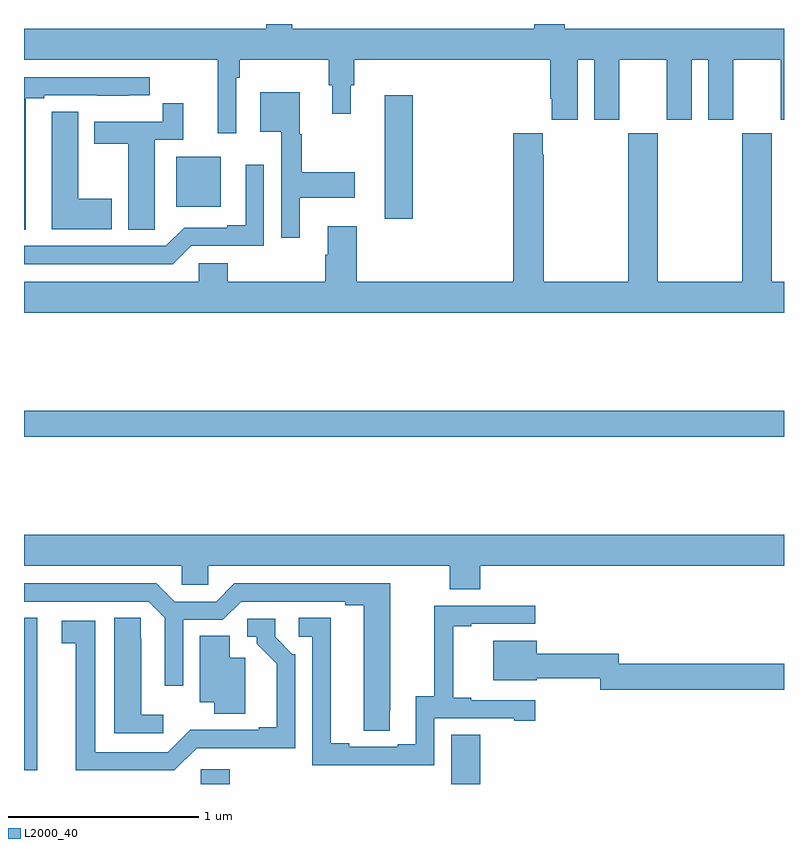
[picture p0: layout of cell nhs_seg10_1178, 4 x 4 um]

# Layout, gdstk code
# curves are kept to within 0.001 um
import gdstk
lib = gdstk.Library(unit=1e-6, precision=1e-09)
def R(c, l, rs):  # rectangles x0, y0, x1, y1
    for r in rs: c.add(gdstk.rectangle(r[:2], r[2:], *l))
def P(c, l, *ps):  # polygons
    for p in ps: c.add(gdstk.Polygon(p, *l))
L2000_40 = (2000, 40)

nhs_seg10_1178 = lib.new_cell('nhs_seg10_1178')
R(nhs_seg10_1178, L2000_40, [(171.93,1300.5,172.082,1300.578), (173.249,1300.5,173.402,1300.76), (171,1300.572,171.07,1301.374), (171,1302.328,175,1302.464), (172.898,1303.476,173.045,1304.125), (171.8,1303.538,172.036,1303.801)])
P(nhs_seg10_1178, L2000_40, [(172.116,1304.216),(172.136,1304.216),(172.136,1304.312),(172.603,1304.312),(172.603,1304.178),(172.622,1304.178),(172.622,1304.028),(172.72,1304.028),(172.72,1304.178),(172.739,1304.178),(172.739,1304.312),(173.771,1304.312),(173.771,1304.107),(173.777,1304.107),(173.777,1303.995),(173.914,1303.995),(173.914,1304.312),(174.002,1304.312),(174.002,1303.995),(174.133,1303.995),(174.133,1304.312),(174.383,1304.312),(174.383,1303.995),(174.514,1303.995),(174.514,1304.312),(174.602,1304.312),(174.602,1303.995),(174.733,1303.995),(174.733,1304.312),(174.983,1304.312),(174.983,1303.995),(175,1303.995),(175,1304.476),(173.846,1304.476),(173.846,1304.5),(173.686,1304.5),(173.686,1304.476),(172.413,1304.476),(172.413,1304.5),(172.275,1304.5),(172.275,1304.476),(171,1304.476),(171,1304.312),(172.019,1304.312),(172.019,1303.926),(172.116,1303.926)],
  [(171.01,1304.109),(171.106,1304.109),(171.106,1304.124),(171.382,1304.124),(171.382,1304.123),(171.548,1304.123),(171.548,1304.124),(171.661,1304.124),(171.661,1304.22),(171,1304.22),(171,1303.417),(171.01,1303.417)],
  [(172.45,1303.586),(172.741,1303.586),(172.741,1303.721),(172.462,1303.721),(172.462,1303.92),(172.45,1303.92),(172.45,1304.14),(172.244,1304.14),(172.244,1303.934),(172.353,1303.934),(172.353,1303.374),(172.45,1303.374)],
  [(171.687,1303.528),(171.688,1303.528),(171.688,1303.89),(171.839,1303.89),(171.839,1304.083),(171.73,1304.083),(171.73,1303.986),(171.371,1303.986),(171.371,1303.87),(171.548,1303.87),(171.548,1303.417),(171.687,1303.417)],
  [(171.463,1303.581),(171.286,1303.581),(171.286,1304.039),(171.147,1304.039),(171.147,1303.931),(171.146,1303.931),(171.146,1303.421),(171.463,1303.421)],
  [(175,1303.144),(174.936,1303.144),(174.936,1303.924),(174.781,1303.924),(174.781,1303.144),(174.336,1303.144),(174.336,1303.924),(174.181,1303.924),(174.181,1303.144),(173.736,1303.144),(173.736,1303.811),(173.731,1303.811),(173.731,1303.924),(173.576,1303.924),(173.576,1303.144),(172.751,1303.144),(172.751,1303.435),(172.598,1303.435),(172.598,1303.286),(172.586,1303.286),(172.586,1303.144),(172.073,1303.144),(172.073,1303.242),(171.921,1303.242),(171.921,1303.144),(171,1303.144),(171,1302.98),(175,1302.98)],
  [(171.879,1303.332),(172.263,1303.332),(172.263,1303.759),(172.166,1303.759),(172.166,1303.441),(172.07,1303.441),(172.07,1303.428),(171.843,1303.428),(171.747,1303.332),(171,1303.332),(171,1303.236),(171.783,1303.236)],
  [(173.402,1301.648),(175,1301.648),(175,1301.812),(171,1301.812),(171,1301.648),(171.831,1301.648),(171.831,1301.55),(171.969,1301.55),(171.969,1301.648),(173.242,1301.648),(173.242,1301.524),(173.402,1301.524)],
  [(172.926,1300.888),(172.927,1301.556),(172.107,1301.556),(172.011,1301.46),(171.793,1301.46),(171.697,1301.556),(171,1301.556),(171,1301.46),(171.657,1301.46),(171.741,1301.376),(171.741,1301.016),(171.837,1301.016),(171.837,1301.364),(172.047,1301.364),(172.143,1301.46),(172.691,1301.46),(172.691,1301.44),(172.787,1301.44),(172.787,1300.78),(172.926,1300.78)],
  [(173.16,1300.845),(173.579,1300.845),(173.579,1300.833),(173.692,1300.833),(173.692,1300.941),(173.353,1300.941),(173.353,1300.954),(173.258,1300.954),(173.258,1301.331),(173.353,1301.331),(173.353,1301.343),(173.692,1301.343),(173.692,1301.439),(173.158,1301.439),(173.158,1300.961),(173.063,1300.961),(173.063,1300.71),(172.967,1300.71),(172.967,1300.695),(172.711,1300.695),(172.711,1300.715),(172.615,1300.715),(172.615,1301.375),(172.446,1301.375),(172.446,1301.274),(172.518,1301.274),(172.518,1300.599),(173.16,1300.599)],
  [(171.733,1300.864),(171.616,1300.864),(171.616,1301.267),(171.615,1301.267),(171.615,1301.375),(171.476,1301.375),(171.476,1300.767),(171.733,1300.767)],
  [(171.909,1300.689),(172.428,1300.688),(172.428,1301.184),(172.413,1301.184),(172.323,1301.274),(172.323,1301.37),(172.176,1301.37),(172.176,1301.274),(172.226,1301.274),(172.226,1301.239),(172.331,1301.134),(172.331,1300.798),(172.235,1300.798),(172.235,1300.785),(171.874,1300.786),(171.756,1300.668),(171.376,1300.668),(171.376,1301.358),(171.198,1301.358),(171.198,1301.242),(171.272,1301.242),(171.272,1300.572),(171.792,1300.572)],
  [(172.165,1301.164),(172.084,1301.164),(172.084,1301.279),(171.926,1301.279),(171.926,1300.931),(172.001,1300.931),(172.001,1300.87),(172.165,1300.87)],
  [(175,1301.132),(174.129,1301.132),(174.129,1301.185),(173.698,1301.185),(173.698,1301.254),(173.471,1301.254),(173.471,1301.045),(173.698,1301.045),(173.698,1301.056),(174.033,1301.056),(174.033,1300.996),(175,1300.996)])

lib.write_gds('nhs_seg10_1178.gds')
